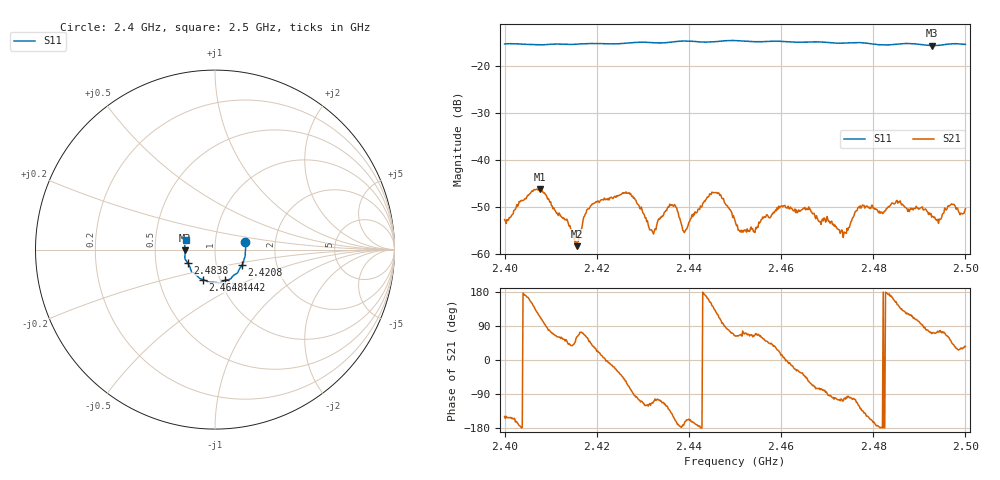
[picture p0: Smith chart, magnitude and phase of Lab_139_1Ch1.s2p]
# Hz S RI R
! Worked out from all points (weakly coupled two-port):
!   601 points, 2.4 GHz to 2.5 GHz, reference 50 ohm
!   highest |S21| = -46.12 dB at 2.4077 GHz (marker M1); lowest = -58.3 dB at 2.4157 GHz (marker M2)
!   lowest |S11| = -15.6 dB at 2.4928 GHz (marker M3), VSWR 1.40, Z = 35.8 - j0.354 ohm
!   |S11| at or under -10 dB: start of sweep to end of sweep
!   S12 and S22 are empty: the file has one direction only
!   S11 on the Smith chart (normalised r, x): 2.4 GHz: 1.40, +0.12; 2.4208 GHz: 1.33, -0.24; 2.4442 GHz: 1.05, -0.37; 2.4648 GHz: 0.83, -0.29; 2.4838 GHz: 0.73, -0.11; 2.5 GHz: 0.72, +0.08
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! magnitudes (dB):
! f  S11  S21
! 2.4 GHz  -15.3  -52.7
! 2.4077 GHz  -15.4  -46.1
! 2.4157 GHz  -15.3  -58.3
! 2.4167 GHz  -15.2  -54.9
! 2.4208 GHz  -15.2  -48.5
! 2.4268 GHz  -15.1  -47.0
! 2.4318 GHz  -15.0  -54.8
! 2.4333 GHz  -15.0  -52.7
! 2.4365 GHz  -14.8  -49.7
! 2.4392 GHz  -14.6  -55.1
! 2.4442 GHz  -14.9  -47.9
! 2.4465 GHz  -14.7  -47.0
! 2.45 GHz  -14.5  -52.9
! 2.4542 GHz  -14.8  -55.2
! 2.4648 GHz  -14.9  -50.2
! 2.4667 GHz  -14.8  -51.1
! 2.4737 GHz  -15.1  -55.3
! 2.4772 GHz  -15.0  -49.7
! 2.4833 GHz  -15.5  -49.9
! 2.4838 GHz  -15.4  -49.5
! 2.4928 GHz  -15.6  -51.9
! 2.5 GHz  -15.4  -50.4
